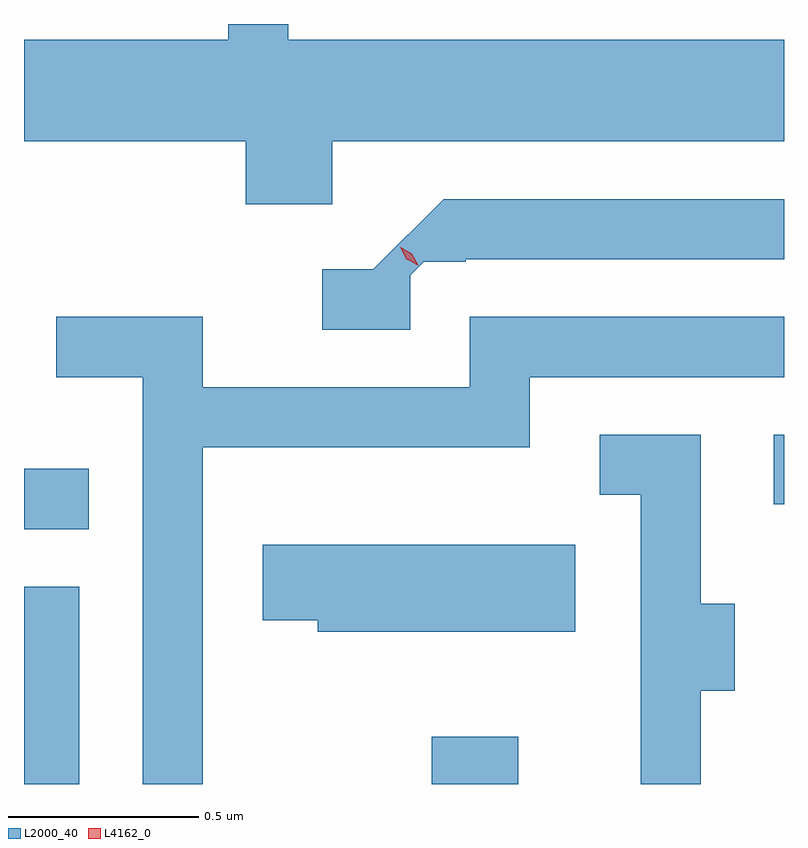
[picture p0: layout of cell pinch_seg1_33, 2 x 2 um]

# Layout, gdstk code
import gdstk
lib = gdstk.Library(unit=1e-6, precision=1e-09)
def R(c, l, rs):  # rectangles x0, y0, x1, y1
    for r in rs: c.add(gdstk.rectangle(r[:2], r[2:], *l))
def P(c, l, *ps):  # polygons
    for p in ps: c.add(gdstk.Polygon(p, *l))
L2000_40 = (2000, 40)
L4162_0 = (4162, 0)

pinch_seg1_33 = lib.new_cell('pinch_seg1_33')
R(pinch_seg1_33, L2000_40, [(1855.958,882.345,1856.104,882.864), (1857.031,882.345,1857.259,882.469), (1855.958,883.016,1856.128,883.174), (1857.931,883.081,1857.958,883.264)])
P(pinch_seg1_33, L2000_40, [(1856.769,884.036),(1857.958,884.036),(1857.958,884.304),(1856.654,884.304),(1856.654,884.345),(1856.496,884.345),(1856.496,884.304),(1855.958,884.304),(1855.958,884.036),(1856.541,884.036),(1856.541,883.871),(1856.769,883.871)],
  [(1856.975,883.684),(1857.01,883.719),(1857.121,883.719),(1857.121,883.726),(1857.958,883.726),(1857.958,883.884),(1857.062,883.884),(1856.877,883.699),(1856.743,883.699),(1856.743,883.541),(1856.975,883.541)],
  [(1856.429,883.231),(1857.289,883.231),(1857.289,883.416),(1857.958,883.416),(1857.958,883.574),(1857.131,883.574),(1857.131,883.389),(1856.429,883.389),(1856.429,883.574),(1856.043,883.574),(1856.043,883.416),(1856.271,883.416),(1856.271,882.345),(1856.429,882.345)],
  [(1857.739,882.591),(1857.829,882.591),(1857.829,882.819),(1857.739,882.819),(1857.739,883.264),(1857.473,883.264),(1857.473,883.106),(1857.581,883.106),(1857.581,882.345),(1857.739,882.345)],
  [(1857.409,882.974),(1856.586,882.974),(1856.586,882.776),(1856.731,882.776),(1856.731,882.746),(1857.409,882.746)])
P(pinch_seg1_33, L4162_0, [(1856.987,883.715),(1856.964,883.726),(1856.954,883.75),(1856.954,883.751),(1856.955,883.751),(1856.978,883.74),(1856.988,883.716),(1856.988,883.715)],
  [(1856.994,883.71),(1856.964,883.727),(1856.948,883.757),(1856.948,883.758),(1856.949,883.758),(1856.979,883.741),(1856.995,883.71),(1856.995,883.71)])

lib.write_gds('pinch_seg1_33.gds')
